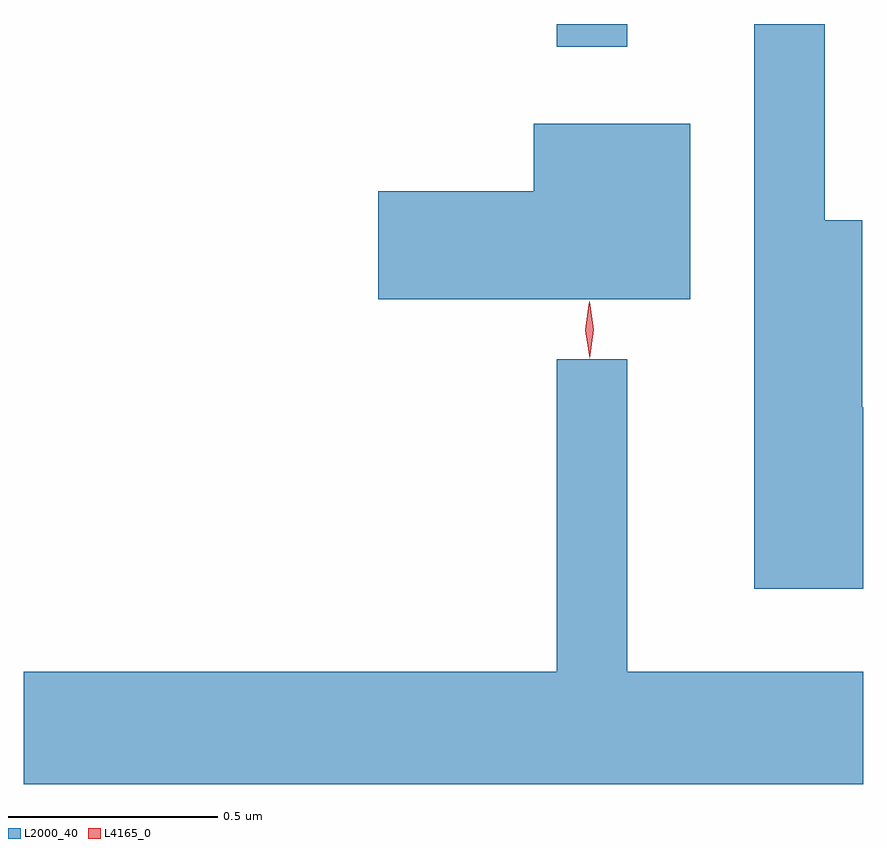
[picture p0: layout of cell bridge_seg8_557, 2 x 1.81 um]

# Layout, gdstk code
import gdstk
lib = gdstk.Library(unit=1e-6, precision=1e-09)
def R(c, l, rs):  # rectangles x0, y0, x1, y1
    for r in rs: c.add(gdstk.rectangle(r[:2], r[2:], *l))
def P(c, l, *ps):  # polygons
    for p in ps: c.add(gdstk.Polygon(p, *l))
L2000_40 = (2000, 40)
L4165_0 = (4165, 0)

bridge_seg8_557 = lib.new_cell('bridge_seg8_557')
R(bridge_seg8_557, L2000_40, [(418.111,1867.033,418.279,1867.087)])
P(bridge_seg8_557, L2000_40, [(418.841,1866.174),(418.839,1866.174),(418.839,1866.619),(418.749,1866.619),(418.749,1867.087),(418.581,1867.087),(418.581,1865.741),(418.841,1865.741)],
  [(418.429,1866.849),(418.056,1866.849),(418.056,1866.689),(417.686,1866.689),(417.686,1866.431),(418.429,1866.431)],
  [(418.841,1865.544),(418.279,1865.544),(418.279,1866.288),(418.111,1866.288),(418.111,1865.544),(416.841,1865.544),(416.841,1865.276),(418.841,1865.276)])
P(bridge_seg8_557, L4165_0, [(418.189,1866.29),(418.189,1866.29),(418.179,1866.358),(418.188,1866.425),(418.188,1866.426),(418.189,1866.425),(418.199,1866.358),(418.19,1866.29)],
  [(418.189,1866.293),(418.189,1866.293),(418.179,1866.356),(418.187,1866.419),(418.188,1866.42),(418.188,1866.419),(418.198,1866.356),(418.19,1866.293)])

lib.write_gds('bridge_seg8_557.gds')
